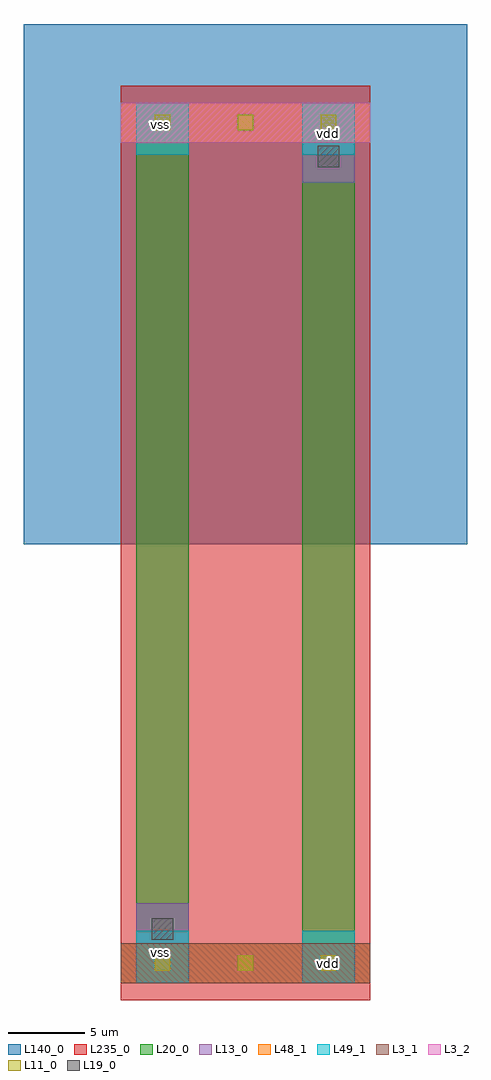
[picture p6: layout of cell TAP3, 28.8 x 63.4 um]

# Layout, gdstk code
import gdstk
lib = gdstk.Library(unit=1e-6, precision=1e-09)
def R(c, l, rs):  # rectangles x0, y0, x1, y1
    for r in rs: c.add(gdstk.rectangle(r[:2], r[2:], *l))
def A(c, l, x, y, w, h, nx, ny, dx, dy):  # array of equal rectangles
    R(c, l, [(x+i*dx, y+j*dy, x+i*dx+w, y+j*dy+h) for i in range(nx) for j in range(ny)])
def P(c, l, *ps):  # polygons
    for p in ps: c.add(gdstk.Polygon(p, *l))
L3_1 = (3, 1)
L3_2 = (3, 2)
L11_0 = (11, 0)
L13_0 = (13, 0)
L19_0 = (19, 0)
L20_0 = (20, 0)
L48_1 = (48, 1)
L49_1 = (49, 1)
L140_0 = (140, 0)
L235_0 = (235, 0)

tap3 = lib.new_cell('TAP3')
R(tap3, L3_1, [(0,1.1,16.2,3.7)])
R(tap3, L3_2, [(0,55.7,16.2,58.3)])
A(tap3, L11_0, 2.2, 1.9, 1, 1, 3, 2, 5.4, 54.6)
R(tap3, L11_0, [(13,1.9,14,2.9), (2.2,56.5,3.2,57.5)])
P(tap3, L13_0, [(11.8,53.1),(11.8,55.7),(0,55.7),(0,58.3),(16.2,58.3),(16.2,55.7),(15.2,55.7),(15.2,53.1)],
  [(0,1.1),(0,3.7),(1,3.7),(1,6.3),(4.4,6.3),(4.4,3.7),(16.2,3.7),(16.2,1.1)])
R(tap3, L19_0, [(2,3.9,3.4,5.3), (12.8,54.1,14.2,55.5)])
R(tap3, L20_0, [(1,1.1,4.4,58.3), (11.8,1.1,15.2,58.3)])
R(tap3, L48_1, [(0,1.1,16.2,3.7), (0,55.7,16.2,58.3)])
R(tap3, L49_1, [(1,1.1,4.4,4.5), (11.8,1.1,15.2,4.5), (1,54.9,4.4,58.3), (11.8,54.9,15.2,58.3)])
R(tap3, L140_0, [(-6.3,29.6,22.5,63.4)])
R(tap3, L235_0, [(0,0,16.2,59.4)])
tap3.add(gdstk.Label('vss', (2.6,56.9), layer=49, texttype=0))
tap3.add(gdstk.Label('vss', (2.6,3.1), layer=49, texttype=0))
tap3.add(gdstk.Label('vdd', (13.5,56.3), layer=49, texttype=0))
tap3.add(gdstk.Label('vdd', (13.5,2.4), layer=49, texttype=0))
tap3.add(gdstk.Label('vss', (2.7,2.4), layer=48, texttype=0))
tap3.add(gdstk.Label('vdd', (2.7,57.1), layer=48, texttype=0))

lib.write_gds('TAP3.gds')
